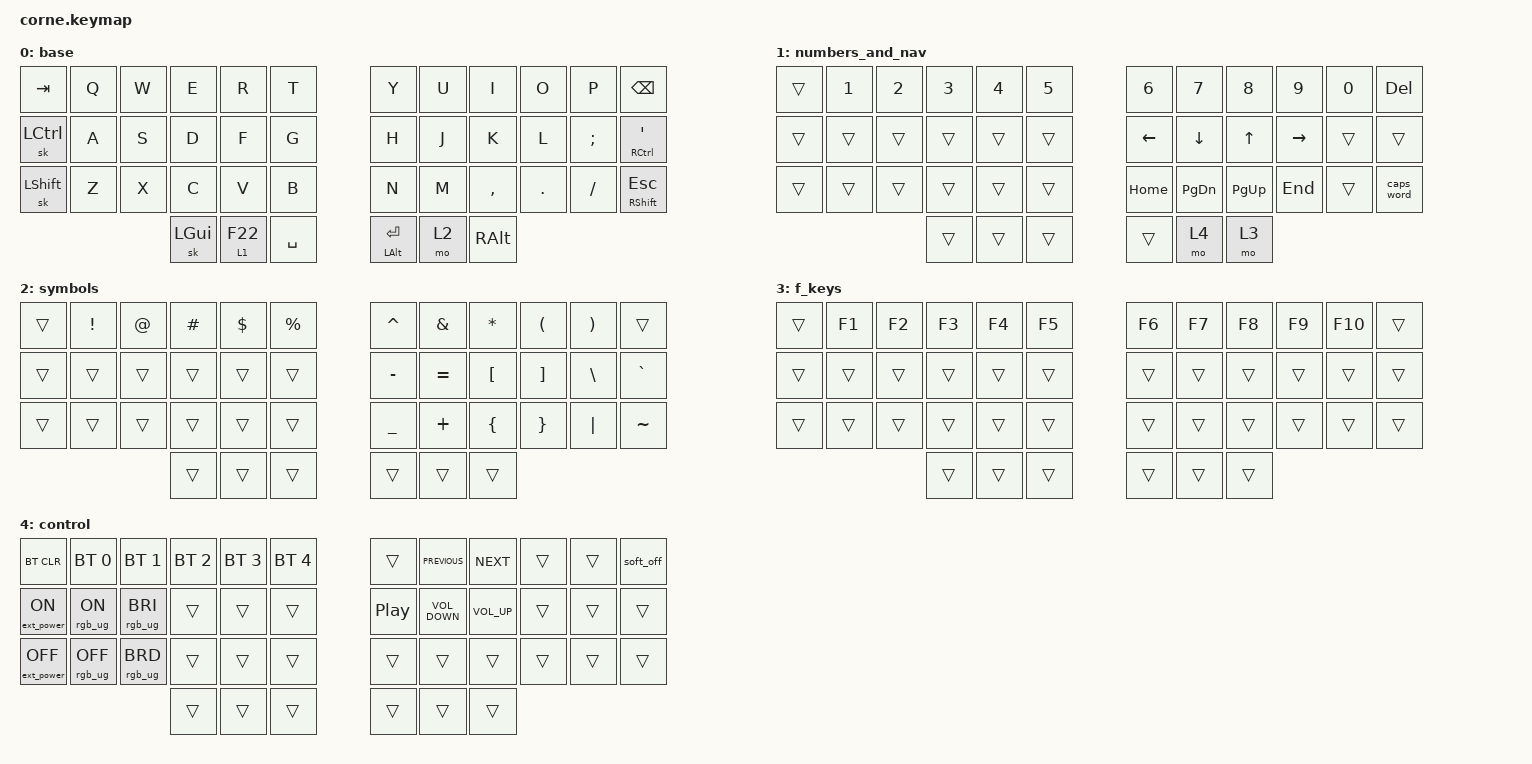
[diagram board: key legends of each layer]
/*
 * Copyright (c) 2020 The ZMK Contributors
 *
 * SPDX-License-Identifier: MIT
 */

#include <behaviors.dtsi>
#include <dt-bindings/zmk/bt.h>
#include <dt-bindings/zmk/ext_power.h>
#include <dt-bindings/zmk/keys.h>
#include <dt-bindings/zmk/rgb.h>

&led_strip { chain-length = <27>; };

/ {
    behaviors {
        layer_tap_hold_preferred: layer_tap_hold_preferred {
            compatible = "zmk,behavior-hold-tap";
            label = "LAYER_TAP_HOLD_PREFERRED";
            bindings = <&mo>, <&kp>;

            #binding-cells = <2>;
            tapping-term-ms = <200>;
        };
    };

    keymap {
        compatible = "zmk,keymap";

        base {
            bindings = <
&kp TAB    &kp Q  &kp W  &kp E     &kp R                            &kp T        &kp Y         &kp U  &kp I      &kp O    &kp P     &kp BSPC
&sk LCTRL  &kp A  &kp S  &kp D     &kp F                            &kp G        &kp H         &kp J  &kp K      &kp L    &kp SEMI  &mt RCTRL SQT
&sk LSHFT  &kp Z  &kp X  &kp C     &kp V                            &kp B        &kp N         &kp M  &kp COMMA  &kp DOT  &kp FSLH  &mt RSHIFT ESC
                         &sk LGUI  &layer_tap_hold_preferred 1 F22  &kp SPACE    &mt LALT RET  &mo 2  &kp RALT
            >;
        };

        numbers_and_nav {
            bindings = <
&trans  &kp N1  &kp N2  &kp N3  &kp N4  &kp N5    &kp N6    &kp N7         &kp N8       &kp N9     &kp N0  &kp DEL
&trans  &trans  &trans  &trans  &trans  &trans    &kp LEFT  &kp DOWN       &kp UP       &kp RIGHT  &trans  &trans
&trans  &trans  &trans  &trans  &trans  &trans    &kp HOME  &kp PAGE_DOWN  &kp PAGE_UP  &kp END    &trans  &caps_word
                        &trans  &trans  &trans    &trans    &mo 4          &mo 3
            >;
        };

        symbols {
            bindings = <
&trans  &kp EXCL  &kp AT  &kp HASH  &kp DLLR  &kp PRCNT    &kp CARET  &kp AMPS   &kp ASTRK  &kp LPAR  &kp RPAR  &trans
&trans  &trans    &trans  &trans    &trans    &trans       &kp MINUS  &kp EQUAL  &kp LBKT   &kp RBKT  &kp BSLH  &kp GRAVE
&trans  &trans    &trans  &trans    &trans    &trans       &kp UNDER  &kp PLUS   &kp LBRC   &kp RBRC  &kp PIPE  &kp TILDE
                          &trans    &trans    &trans       &trans     &trans     &trans
            >;
        };

        f_keys {
            bindings = <
&trans  &kp F1  &kp F2  &kp F3  &kp F4  &kp F5    &kp F6  &kp F7  &kp F8  &kp F9  &kp F10  &trans
&trans  &trans  &trans  &trans  &trans  &trans    &trans  &trans  &trans  &trans  &trans   &trans
&trans  &trans  &trans  &trans  &trans  &trans    &trans  &trans  &trans  &trans  &trans   &trans
                        &trans  &trans  &trans    &trans  &trans  &trans
            >;
        };

        control {
            bindings = <
&bt BT_CLR         &bt BT_SEL 0     &bt BT_SEL 1     &bt BT_SEL 2  &bt BT_SEL 3  &bt BT_SEL 4    &trans            &kp C_PREVIOUS     &kp C_NEXT       &trans  &trans  &soft_off
&ext_power EP_ON   &rgb_ug RGB_ON   &rgb_ug RGB_BRI  &trans        &trans        &trans          &kp C_PLAY_PAUSE  &kp C_VOLUME_DOWN  &kp C_VOLUME_UP  &trans  &trans  &trans
&ext_power EP_OFF  &rgb_ug RGB_OFF  &rgb_ug RGB_BRD  &trans        &trans        &trans          &trans            &trans             &trans           &trans  &trans  &trans
                                                     &trans        &trans        &trans          &trans            &trans             &trans
            >;
        };
    };
};
